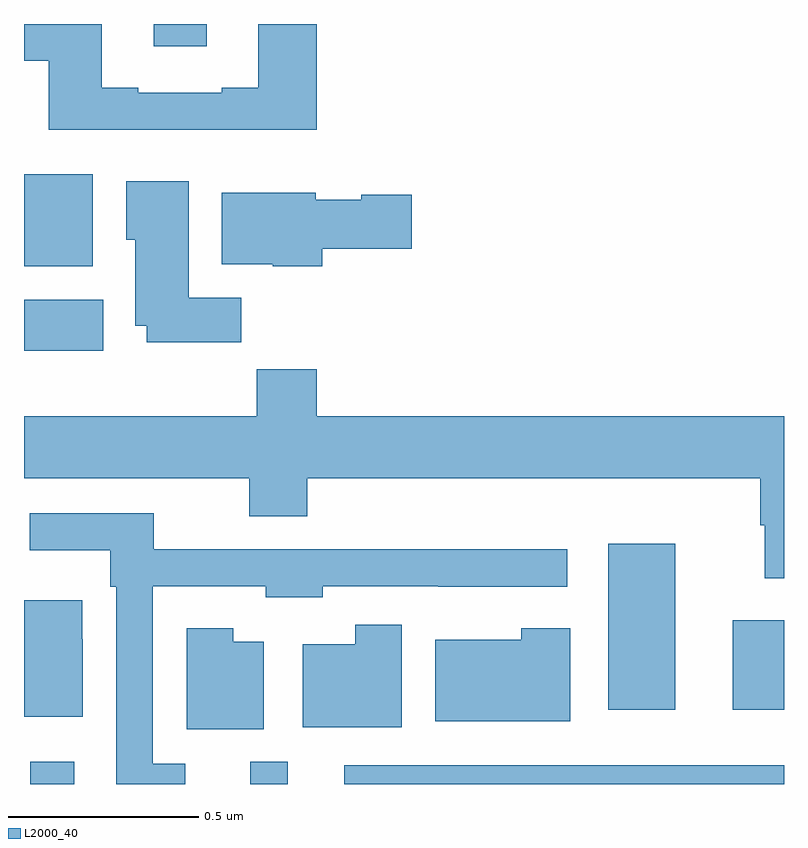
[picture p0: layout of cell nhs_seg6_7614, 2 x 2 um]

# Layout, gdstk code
import gdstk
lib = gdstk.Library(unit=1e-6, precision=1e-09)
def R(c, l, rs):  # rectangles x0, y0, x1, y1
    for r in rs: c.add(gdstk.rectangle(r[:2], r[2:], *l))
def P(c, l, *ps):  # polygons
    for p in ps: c.add(gdstk.Polygon(p, *l))
L2000_40 = (2000, 40)

nhs_seg6_7614 = lib.new_cell('nhs_seg6_7614')
R(nhs_seg6_7614, L2000_40, [(210.016,978.5,210.132,978.559), (210.596,978.5,210.694,978.559), (211.538,978.695,211.714,979.132), (211.865,978.695,212,978.931), (210,979.64,210.208,979.774), (210,979.862,210.181,980.104), (210.341,980.442,210.481,980.5)])
P(nhs_seg6_7614, L2000_40, [(210.77,980.5),(210.617,980.5),(210.617,980.332),(210.521,980.332),(210.521,980.319),(210.301,980.319),(210.301,980.332),(210.205,980.332),(210.205,980.5),(210,980.5),(210,980.403),(210.065,980.403),(210.065,980.222),(210.77,980.222)],
  [(210.572,979.78),(210.433,979.78),(210.433,980.086),(210.269,980.086),(210.269,979.932),(210.293,979.932),(210.293,979.706),(210.323,979.706),(210.323,979.662),(210.572,979.662)],
  [(210.785,979.909),(211.021,979.909),(211.021,980.051),(210.888,980.051),(210.888,980.038),(210.768,980.038),(210.768,980.056),(210.521,980.056),(210.521,979.868),(210.654,979.868),(210.654,979.862),(210.785,979.862)],
  [(212,979.468),(210.77,979.468),(210.77,979.592),(210.613,979.592),(210.613,979.468),(210,979.468),(210,979.304),(210.593,979.304),(210.593,979.205),(210.746,979.205),(210.746,979.304),(211.937,979.304),(211.937,979.181),(211.949,979.181),(211.949,979.041),(212,979.041)],
  [(210.424,978.553),(210.339,978.553),(210.339,979.02),(210.636,979.02),(210.636,978.992),(210.786,978.992),(210.786,979.02),(211.09,979.02),(211.09,979.019),(211.429,979.019),(211.429,979.118),(210.342,979.118),(210.342,979.212),(210.015,979.212),(210.015,979.115),(210.227,979.115),(210.227,979.019),(210.243,979.019),(210.243,978.5),(210.424,978.5)],
  [(210.154,978.881),(210.153,978.881),(210.153,978.984),(210,978.984),(210,978.677),(210.154,978.677)],
  [(210.994,978.919),(210.872,978.919),(210.872,978.868),(210.734,978.868),(210.734,978.65),(210.994,978.65)],
  [(211.438,978.91),(211.309,978.91),(211.309,978.88),(211.082,978.88),(211.082,978.665),(211.438,978.665)],
  [(210.631,978.874),(210.55,978.874),(210.55,978.91),(210.428,978.91),(210.428,978.644),(210.631,978.644)],
  [(212,978.55),(211.542,978.55),(211.542,978.549),(210.843,978.549),(210.843,978.5),(212,978.5)])

lib.write_gds('nhs_seg6_7614.gds')
